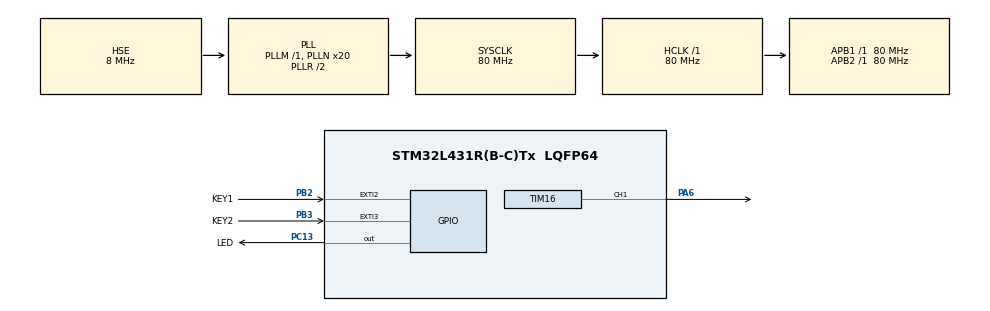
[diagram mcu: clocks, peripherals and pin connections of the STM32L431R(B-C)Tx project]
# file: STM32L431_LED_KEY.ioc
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Mcu.Family=STM32L4
Mcu.Name=STM32L431R(B-C)Tx
Mcu.Package=LQFP64
NVIC.EXTI2_IRQn=true\:0\:0\:false\:false\:true\:true\:true
NVIC.EXTI3_IRQn=true\:0\:0\:false\:false\:true\:true\:true
NVIC.PriorityGroup=NVIC_PRIORITYGROUP_4
NVIC.TIM2_IRQn=true\:0\:0\:false\:false\:true\:true\:true
PA6.Signal=S_TIM16_CH1
PB2.GPIO_Label=KEY1
PB2.GPIO_PuPd=GPIO_PULLUP
PB2.Signal=GPXTI2
PB3\ (JTDO-TRACESWO).GPIO_Label=KEY2
PB3\ (JTDO-TRACESWO).GPIO_PuPd=GPIO_PULLUP
PB3\ (JTDO-TRACESWO).Signal=GPXTI3
PC13.GPIO_Label=LED
PC13.Signal=GPIO_Output
PC14-OSC32_IN\ (PC14).Mode=LSE-External-Oscillator
PC14-OSC32_IN\ (PC14).Signal=RCC_OSC32_IN
PC15-OSC32_OUT\ (PC15).Mode=LSE-External-Oscillator
PC15-OSC32_OUT\ (PC15).Signal=RCC_OSC32_OUT
PH0-OSC_IN\ (PH0).Mode=HSE-External-Oscillator
PH0-OSC_IN\ (PH0).Signal=RCC_OSC_IN
PH1-OSC_OUT\ (PH1).Mode=HSE-External-Oscillator
PH1-OSC_OUT\ (PH1).Signal=RCC_OSC_OUT
ProjectManager.HeapSize=0x200
ProjectManager.StackSize=0x400
ProjectManager.TargetToolchain=MDK-ARM V5
RCC.ADCFreq_Value=32000000
RCC.AHBFreq_Value=80000000
RCC.APB1Freq_Value=80000000
RCC.APB1TimFreq_Value=80000000
RCC.APB2Freq_Value=80000000
RCC.APB2TimFreq_Value=80000000
RCC.CortexFreq_Value=80000000
RCC.HCLKFreq_Value=80000000
RCC.HSE_VALUE=8000000
RCC.HSI48_VALUE=48000000
RCC.HSI_VALUE=16000000
RCC.MSI_VALUE=4000000
RCC.PLLN=20
RCC.PLLSourceVirtual=RCC_PLLSOURCE_HSE
RCC.SYSCLKFreq_VALUE=80000000
RCC.SYSCLKSource=RCC_SYSCLKSOURCE_PLLCLK
RCC.VCOOutputFreq_Value=160000000
SH.S_TIM16_CH1.0=TIM16_CH1,PWM Generation1 CH1
TIM16.Channel=TIM_CHANNEL_1
TIM16.Period=499
TIM16.Prescaler=79
TIM2.Period=1000-1
TIM2.Prescaler=40000-1
VP_TIM16_VS_ClockSourceINT.Mode=Enable_Timer
VP_TIM2_VS_ClockSourceINT.Mode=Internal
board=custom

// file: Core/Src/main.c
/* USER CODE BEGIN Header */
/**
  ******************************************************************************
  * @file           : main.c
  * @brief          : Main program body
  ******************************************************************************
  * @attention
  *
  * <h2><center>&copy; Copyright (c) 2021 STMicroelectronics.
  * All rights reserved.</center></h2>
  *
  * This software component is licensed by ST under BSD 3-Clause license,
  * the "License"; You may not use this file except in compliance with the
  * License. You may obtain a copy of the License at:
  *                        opensource.org/licenses/BSD-3-Clause
  *
  ******************************************************************************
  */
/* USER CODE END Header */
#include "main.h"
#include "tim.h"
#include "gpio.h"

/* USER CODE BEGIN PTD */
uint16_t pwmVal=0;
/* USER CODE END PTD */

void SystemClock_Config(void);

int main(void)
{

  /* MCU Configuration--------------------------------------------------------*/

  /* Reset of all peripherals, Initializes the Flash interface and the Systick. */
  HAL_Init();

  /* Configure the system clock */
  SystemClock_Config();

  /* Initialize all configured peripherals */
  MX_GPIO_Init();
  MX_TIM2_Init();
  MX_TIM16_Init();
  /* USER CODE BEGIN 2 */
	HAL_TIM_PWM_Start(&htim16,TIM_CHANNEL_1);
  /* USER CODE END 2 */

  /* Infinite loop */
  while (1)
  {

    /* USER CODE BEGIN 3 */
		while (pwmVal < 500) {
		  pwmVal++;
	 	  __HAL_TIM_SetCompare(&htim16, TIM_CHANNEL_1, pwmVal);    //修改比较值，修改占空比
	 //		  TIM3->CCR1 = pwmVal;    与上方相????
	 	  HAL_Delay(6);
	  }

	  while (pwmVal) {
		  pwmVal--;
		  __HAL_TIM_SetCompare(&htim16, TIM_CHANNEL_1, pwmVal);    //修改比较值，修改占空比
	 //		  TIM3->CCR1 = pwmVal;     与上方相????
		  HAL_Delay(6);
	  }
  }
  /* USER CODE END 3 */
}

void SystemClock_Config(void)
{
  RCC_OscInitTypeDef RCC_OscInitStruct = {0};
  RCC_ClkInitTypeDef RCC_ClkInitStruct = {0};

  /** Initializes the RCC Oscillators according to the specified parameters
  * in the RCC_OscInitTypeDef structure.
  */
  RCC_OscInitStruct.OscillatorType = RCC_OSCILLATORTYPE_HSE;
  RCC_OscInitStruct.HSEState = RCC_HSE_ON;
  RCC_OscInitStruct.PLL.PLLState = RCC_PLL_ON;
  RCC_OscInitStruct.PLL.PLLSource = RCC_PLLSOURCE_HSE;
  RCC_OscInitStruct.PLL.PLLM = 1;
  RCC_OscInitStruct.PLL.PLLN = 20;
  RCC_OscInitStruct.PLL.PLLP = RCC_PLLP_DIV7;
  RCC_OscInitStruct.PLL.PLLQ = RCC_PLLQ_DIV2;
  RCC_OscInitStruct.PLL.PLLR = RCC_PLLR_DIV2;
  if (HAL_RCC_OscConfig(&RCC_OscInitStruct) != HAL_OK)
  {
    Error_Handler();
  }
  /** Initializes the CPU, AHB and APB buses clocks
  */
  RCC_ClkInitStruct.ClockType = RCC_CLOCKTYPE_HCLK|RCC_CLOCKTYPE_SYSCLK
                              |RCC_CLOCKTYPE_PCLK1|RCC_CLOCKTYPE_PCLK2;
  RCC_ClkInitStruct.SYSCLKSource = RCC_SYSCLKSOURCE_PLLCLK;
  RCC_ClkInitStruct.AHBCLKDivider = RCC_SYSCLK_DIV1;
  RCC_ClkInitStruct.APB1CLKDivider = RCC_HCLK_DIV1;
  RCC_ClkInitStruct.APB2CLKDivider = RCC_HCLK_DIV1;

  if (HAL_RCC_ClockConfig(&RCC_ClkInitStruct, FLASH_LATENCY_4) != HAL_OK)
  {
    Error_Handler();
  }
  /** Configure the main internal regulator output voltage
  */
  if (HAL_PWREx_ControlVoltageScaling(PWR_REGULATOR_VOLTAGE_SCALE1) != HAL_OK)
  {
    Error_Handler();
  }
}

/* USER CODE BEGIN 4 */
void HAL_GPIO_EXTI_Callback(uint16_t GPIO_Pin)//外部中断回调函数
{

	/* 判断哪个引脚触发了中?????????? */
		switch(GPIO_Pin)
		{
			case GPIO_PIN_2:
				/* 处理GPIO2发生的中?????????? */
				//点亮LED
				HAL_TIM_Base_Stop_IT(&htim2);
				HAL_GPIO_WritePin(LED_GPIO_Port,LED_Pin,GPIO_PIN_SET);
				break;
			case GPIO_PIN_3:
				/* 处理GPIO3发生的中?????????? */
				//熄灭LED
				//HAL_GPIO_WritePin(LED_GPIO_Port,LED_Pin,GPIO_PIN_RESET);
				HAL_TIM_Base_Start_IT(&htim2);//触发TIM2中断定时????????2Hz
				break;
			default:
				break;
		}
 }

void HAL_TIM_PeriodElapsedCallback(TIM_HandleTypeDef* tim_baseHandle)
{
	if (tim_baseHandle->Instance == htim2.Instance) {
    HAL_GPIO_TogglePin(LED_GPIO_Port, LED_Pin);
  }
}
/* USER CODE END 4 */

void Error_Handler(void)
{
  __disable_irq();
  while (1)
  {
  }
}

/************************ (C) COPYRIGHT STMicroelectronics *****END OF FILE****/
